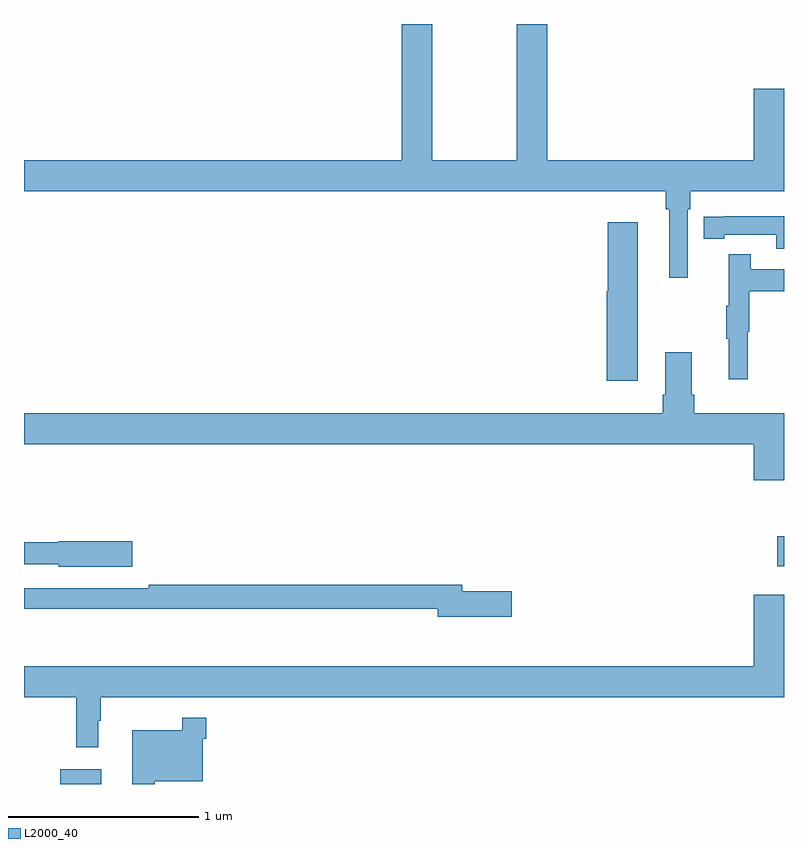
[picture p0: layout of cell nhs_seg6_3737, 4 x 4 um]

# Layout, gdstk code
import gdstk
lib = gdstk.Library(unit=1e-6, precision=1e-09)
def R(c, l, rs):  # rectangles x0, y0, x1, y1
    for r in rs: c.add(gdstk.rectangle(r[:2], r[2:], *l))
def P(c, l, *ps):  # polygons
    for p in ps: c.add(gdstk.Polygon(p, *l))
L2000_40 = (2000, 40)

nhs_seg6_3737 = lib.new_cell('nhs_seg6_3737')
R(nhs_seg6_3737, L2000_40, [(329.192,993.5,329.407,993.577), (332.964,994.646,333,994.804)])
P(nhs_seg6_3737, L2000_40, [(332.493,996.524),(332.507,996.524),(332.507,996.62),(333,996.62),(333,997.159),(332.84,997.159),(332.84,996.784),(331.754,996.784),(331.754,997.5),(331.594,997.5),(331.594,996.784),(331.149,996.784),(331.149,997.5),(330.989,997.5),(330.989,996.784),(329,996.784),(329,996.62),(332.377,996.62),(332.377,996.524),(332.396,996.524),(332.396,996.165),(332.493,996.165)],
  [(333,996.487),(332.686,996.487),(332.686,996.486),(332.578,996.486),(332.578,996.37),(332.686,996.37),(332.686,996.39),(332.958,996.39),(332.958,996.318),(333,996.318)],
  [(332.23,996.457),(332.072,996.457),(332.072,996.093),(332.066,996.093),(332.066,995.622),(332.23,995.622)],
  [(332.81,995.88),(332.818,995.88),(332.818,996.094),(333,996.094),(333,996.21),(332.825,996.21),(332.825,996.289),(332.708,996.289),(332.708,996.017),(332.697,996.017),(332.697,995.843),(332.708,995.843),(332.708,995.631),(332.81,995.631)],
  [(333,995.452),(332.528,995.452),(332.528,995.548),(332.515,995.548),(332.515,995.773),(332.375,995.773),(332.375,995.548),(332.363,995.548),(332.363,995.452),(329,995.452),(329,995.288),(332.84,995.288),(332.84,995.1),(333,995.1)],
  [(329.569,994.778),(329.184,994.778),(329.184,994.772),(329,994.772),(329,994.656),(329.184,994.656),(329.184,994.643),(329.569,994.643)],
  [(331.567,994.514),(331.306,994.514),(331.306,994.55),(329.656,994.55),(329.656,994.53),(329,994.53),(329,994.422),(331.178,994.422),(331.178,994.379),(331.567,994.379)],
  [(329.392,993.833),(329.404,993.833),(329.404,993.956),(333,993.956),(333,994.495),(332.84,994.495),(332.84,994.12),(329,994.12),(329,993.956),(329.275,993.956),(329.275,993.693),(329.392,993.693)],
  [(329.687,993.515),(329.94,993.515),(329.94,993.737),(329.96,993.737),(329.96,993.85),(329.832,993.85),(329.832,993.784),(329.57,993.784),(329.57,993.5),(329.687,993.5)])

lib.write_gds('nhs_seg6_3737.gds')
